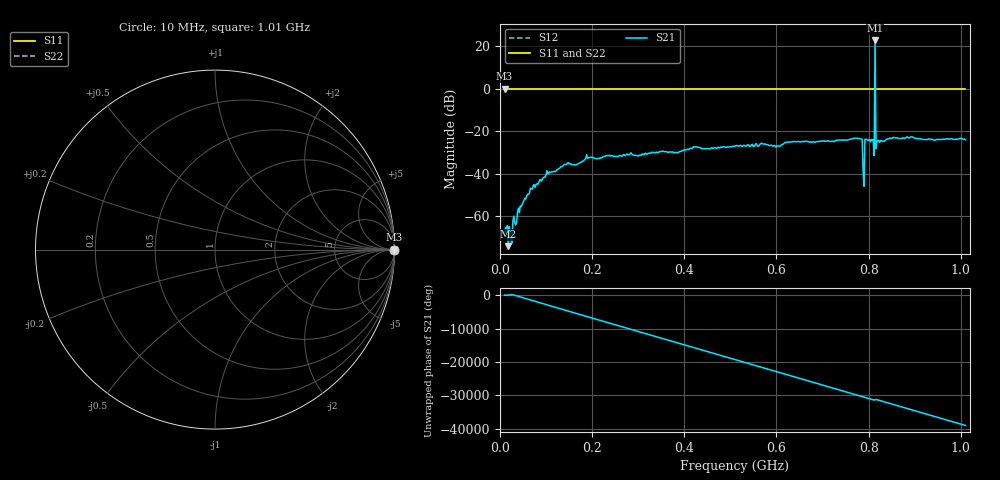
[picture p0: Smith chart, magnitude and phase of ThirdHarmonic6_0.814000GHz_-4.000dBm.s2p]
! 8/16/2025 3:04:53 AM
! C:\ANRITSUVNA\TEMP\TEMP.S2P
! CHANNEL.1
! TR.MEASUREMENT
! RAW.DATA
! RF.CORRECTION.OFF
! AVERAGING.OFF
! IF.BANDWIDTH: 5KHZ
! SWEEPTYPE:  FREQ.SWEEP(Linear)
! Reference Plane Port Info
! PORT:  PORT1  PORT2
! DISTANCE:  0  m  0  m
! TIME:  0  s  0  s
! PHASE.OFFSET:  0  deg.  0  deg.
! LOSS:  0  dB  0  dB
! REF.LOSS:  0  dB  0  dB
! REF.FREQ:  0  Hz  0  Hz
! Power Info
! POWER:  -20  dBm  -20  dBm
! EFF.POWER:  -20  dBm  -20  dBm
! SOURCE.ATTEN:  0  dB  0  dB
! TEST.ATTEN:  0  dB  0  dB
# GHZ S RI R 50.0
! FREQ.GHZ  S11RE  S11IM  S21RE  S21IM  S12RE  S12IM  S22RE  S22IM
!; PortSelection: Port_12
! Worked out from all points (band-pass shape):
!   501 points, 10 MHz to 1.01 GHz, reference 50 ohm
!   highest |S21| = 22.72 dB at 814 MHz (marker M1); lowest = -74.0 dB at 18 MHz (marker M2)
!   |S21| within 3 dB of the highest: 813.8892 MHz to 814.1182 MHz (229 kHz wide, 0.0281 % of centre)
!   lowest |S11| = 0.0 dB at 10 MHz (marker M3)
!   |S11| at or under -10 dB: nowhere
!   |S22| runs from 0.0 to 0.0 dB; largest |S21 - S12| = 13
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0.01  1 0  0.000211 0.00032  1 0  1 0
0.018  1 0  -0.000185 7.5e-05  1 0  1 0
0.022  1 0  0.000195 0.0004  1 0  1 0
0.042  1 0  0.000938 -0.000792  1 0  1 0
0.07  1 0  -0.00126 -0.00417  1 0  1 0
0.106  1 0  -0.00768 -0.00694  1 0  1 0
0.178  1 0  -0.0187 -0.00554  1 0  1 0
0.344  1 0  0.0313 -0.00529  1 0  1 0
0.51  1 0  -0.0424 0.0143  1 0  1 0
0.678  1 0  -0.0234 -0.0507  1 0  1 0
0.78  1 0  -0.0053 0.0676  1 0  1 0
0.782  1 0  0.0646 0.0163  1 0  1 0
0.786  1 0  -0.0544 -0.0341  1 0  1 0
0.79  1 0  0.000617 0.00505  1 0  1 0
0.796  1 0  -0.0635 0.011  1 0  1 0
0.808  1 0  0.0416 0.0475  1 0  1 0
0.81  1 0  0.0542 -0.0341  1 0  1 0
0.814  1 0  12.01 -6.538  1 0  1 0
0.818  1 0  0.0572 0.00765  1 0  1 0
0.82  1 0  0.0195 -0.0577  1 0  1 0
0.844  1 0  0.0452 0.0492  1 0  1 0
1.01  1 0  -0.0601 -0.0185  1 0  1 0
